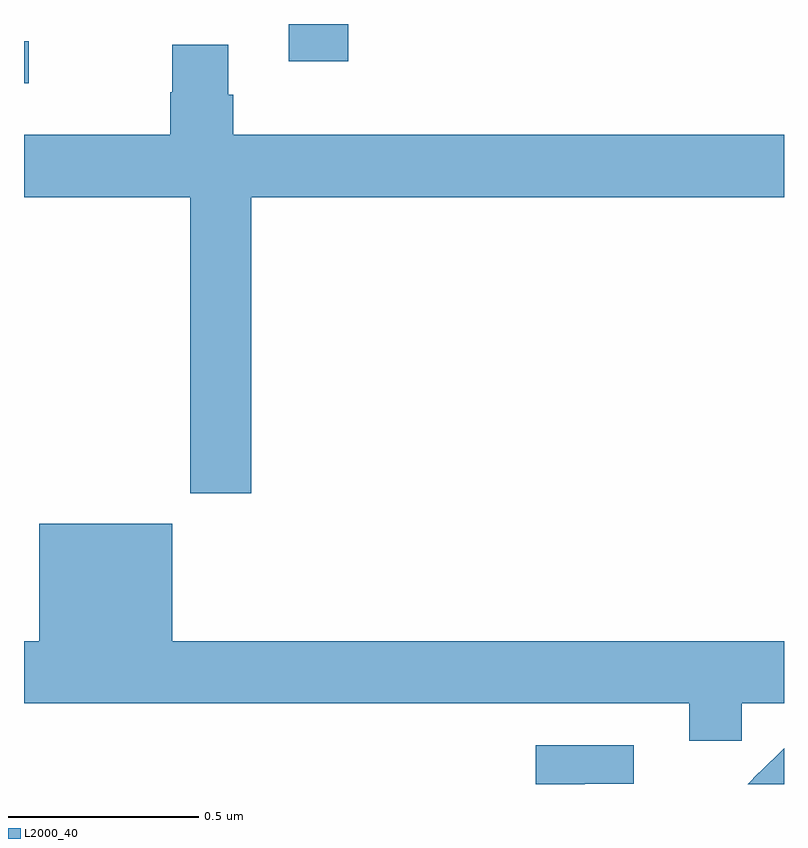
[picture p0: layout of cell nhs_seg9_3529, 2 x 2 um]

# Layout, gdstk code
import gdstk
lib = gdstk.Library(unit=1e-6, precision=1e-09)
def R(c, l, rs):  # rectangles x0, y0, x1, y1
    for r in rs: c.add(gdstk.rectangle(r[:2], r[2:], *l))
def P(c, l, *ps):  # polygons
    for p in ps: c.add(gdstk.Polygon(p, *l))
L2000_40 = (2000, 40)

nhs_seg9_3529 = lib.new_cell('nhs_seg9_3529')
R(nhs_seg9_3529, L2000_40, [(154,1239.344,154.012,1239.454), (154.697,1239.402,154.853,1239.5)])
P(nhs_seg9_3529, L2000_40, [(154.598,1239.044),(156,1239.044),(156,1239.208),(154.55,1239.208),(154.55,1239.314),(154.537,1239.314),(154.537,1239.446),(154.39,1239.446),(154.39,1239.321),(154.385,1239.321),(154.385,1239.208),(154,1239.208),(154,1239.044),(154.438,1239.044),(154.438,1238.265),(154.598,1238.265)],
  [(155.889,1237.712),(156,1237.712),(156,1237.876),(154.39,1237.876),(154.39,1238.185),(154.04,1238.185),(154.04,1237.876),(154,1237.876),(154,1237.712),(155.75,1237.712),(155.75,1237.614),(155.889,1237.614)],
  [(155.476,1237.501),(155.605,1237.501),(155.605,1237.602),(155.347,1237.602),(155.347,1237.5),(155.476,1237.5)],
  [(156,1237.594),(155.935,1237.529),(155.934,1237.53),(155.904,1237.5),(156,1237.5)])

lib.write_gds('nhs_seg9_3529.gds')
